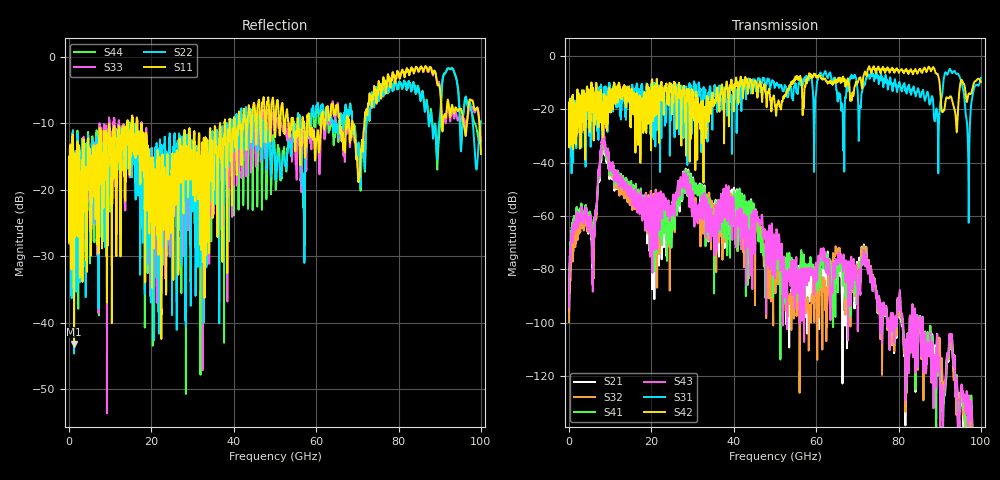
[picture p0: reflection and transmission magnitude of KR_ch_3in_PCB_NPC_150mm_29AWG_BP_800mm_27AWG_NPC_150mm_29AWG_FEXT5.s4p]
# GHz S RI R 45
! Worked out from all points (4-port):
!   4000 points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, 25 MHz to 100 GHz, reference 45 ohm
!   strongest paths, dB at 25 MHz, 25.02 GHz, 50.02 GHz, 75.03 GHz, 100 GHz:
!     S42: -22.2, -20.8, -18.7, -4.1, -9.8
!     S31: -22.2, -12.0, -11.6, -7.8, -8.3
!     S43: -94.3, -58.4, -83.2, -93.3, -154.9
!     S41: -91.8, -60.0, -76.0, -93.5, -147.1
!     S32: -99.7, -63.0, -80.2, -94.2, -161.0
!     S21: -95.8, -56.9, -77.9, -94.4, -158.8
!   lowest |S11| = -43.2 dB at 1.225 GHz (marker M1), VSWR 1.01, Z = 44.9 - j0.619 ohm
!   |S11| at or under -10 dB: start of sweep to 14.14 GHz; 16.58 GHz to 36.66 GHz (20.08 GHz wide, 75.4 % of centre); 68.85 GHz to 71.74 GHz (2.898 GHz wide, 4.12 % of centre) (the widest 3 of 38)
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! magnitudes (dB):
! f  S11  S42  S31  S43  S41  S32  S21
! 25 MHz  -17.4  -22.2  -22.2  -94.3  -91.8  -99.7  -95.8
! 1.225 GHz  -43.2  -25.9  -25.3  -63.2  -61.0  -68.1  -64.8
! 5.95 GHz  -16.4  -13.6  -14.2  -71.6  -62.4  -73.0  -72.6
! 8.375 GHz  -22.7  -21.4  -18.3  -26.4  -28.0  -27.8  -29.6
! 24.07 GHz  -23.4  -16.0  -15.1  -54.3  -61.5  -58.4  -60.3
! 96.92 GHz  -7.8  -14.7  -37.7  -136.3  -133.8  -142.8  -138.8
! 100 GHz  -14.6  -9.8  -8.3  -154.9  -147.1  -161.0  -158.8
